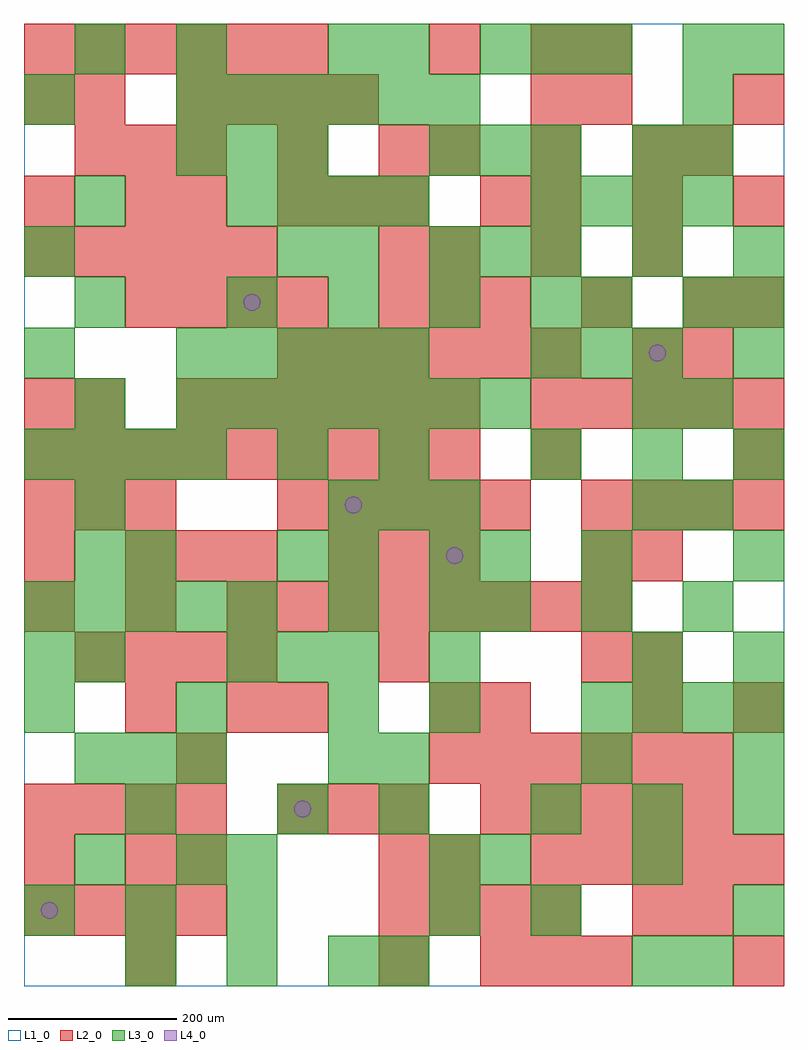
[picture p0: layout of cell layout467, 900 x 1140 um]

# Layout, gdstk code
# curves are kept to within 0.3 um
import gdstk
lib = gdstk.Library(unit=1e-6, precision=1e-09)
def R(c, l, rs):  # rectangles x0, y0, x1, y1
    for r in rs: c.add(gdstk.rectangle(r[:2], r[2:], *l))
def A(c, l, x, y, w, h, nx, ny, dx, dy):  # array of equal rectangles
    R(c, l, [(x+i*dx, y+j*dy, x+i*dx+w, y+j*dy+h) for i in range(nx) for j in range(ny)])
def P(c, l, *ps):  # polygons
    for p in ps: c.add(gdstk.Polygon(p, *l))
L1_0 = (1, 0)
L2_0 = (2, 0)
L3_0 = (3, 0)
L4_0 = (4, 0)

layout467 = lib.new_cell('layout467')
R(layout467, L1_0, [(0,0,900,1140)])
A(layout467, L2_0, 540, 0, 60, 60, 3, 1, 60, 0)
A(layout467, L2_0, 840, 0, 60, 60, 1, 3, 0, 300)
A(layout467, L2_0, 0, 60, 60, 60, 4, 2, 60, 120)
A(layout467, L2_0, 420, 60, 60, 60, 4, 1, 60, 0)
A(layout467, L2_0, 600, 120, 60, 60, 5, 2, 60, 540)
A(layout467, L2_0, 300, 180, 60, 60, 3, 2, 60, 720)
A(layout467, L2_0, 540, 180, 60, 60, 5, 1, 60, 0)
A(layout467, L2_0, 480, 240, 60, 60, 6, 1, 60, 0)
A(layout467, L2_0, 60, 360, 60, 60, 4, 1, 60, 0)
A(layout467, L2_0, 0, 420, 60, 60, 3, 1, 120, 0)
A(layout467, L2_0, 300, 420, 60, 60, 7, 1, 60, 0)
A(layout467, L2_0, 120, 480, 60, 60, 3, 1, 60, 0)
A(layout467, L2_0, 360, 480, 60, 60, 3, 1, 60, 0)
A(layout467, L2_0, 0, 540, 60, 60, 3, 1, 60, 0)
A(layout467, L2_0, 300, 540, 60, 60, 5, 1, 60, 0)
A(layout467, L2_0, 660, 540, 60, 60, 4, 1, 60, 0)
A(layout467, L2_0, 0, 600, 60, 60, 9, 1, 60, 0)
A(layout467, L2_0, 180, 660, 60, 60, 6, 1, 60, 0)
A(layout467, L2_0, 300, 720, 60, 60, 6, 1, 60, 0)
A(layout467, L2_0, 120, 780, 60, 60, 4, 1, 60, 0)
A(layout467, L2_0, 420, 780, 60, 60, 3, 1, 60, 0)
A(layout467, L2_0, 0, 840, 60, 60, 5, 1, 60, 0)
A(layout467, L2_0, 480, 840, 60, 60, 3, 2, 120, 120)
A(layout467, L2_0, 600, 900, 60, 60, 3, 1, 120, 0)
A(layout467, L2_0, 60, 960, 60, 60, 3, 1, 60, 0)
A(layout467, L2_0, 180, 1020, 60, 60, 4, 1, 60, 0)
A(layout467, L2_0, 0, 1080, 60, 60, 6, 1, 60, 0)
R(layout467, L2_0, [(120,0,180,60), (420,0,480,60), (720,60,780,120), (780,60,840,120), (0,120,60,180), (120,120,180,180), (180,120,240,180), (420,120,480,180), (480,120,540,180), (180,240,240,300), (120,300,180,360), (240,300,300,360), (300,300,360,360), (480,300,540,360), (540,300,600,360), (720,300,780,360), (420,360,480,420), (660,360,720,420), (720,360,780,420), (0,480,60,540), (660,480,720,540), (720,480,780,540), (600,600,660,660), (0,660,60,720), (60,660,120,720), (720,720,780,780), (780,720,840,780), (660,780,720,840), (780,780,840,840), (840,780,900,840), (420,840,480,900), (0,900,60,960), (120,900,180,960), (180,900,240,960), (540,900,600,960), (300,960,360,1020), (420,960,480,1020), (780,960,840,1020), (0,1020,60,1080), (60,1020,120,1080), (600,1020,660,1080), (660,1020,720,1080), (840,1020,900,1080), (480,1080,540,1140), (600,1080,660,1140), (660,1080,720,1140)])
A(layout467, L3_0, 120, 0, 60, 60, 3, 1, 120, 0)
A(layout467, L3_0, 0, 60, 60, 60, 3, 1, 120, 0)
A(layout467, L3_0, 600, 180, 60, 60, 3, 2, 120, 420)
A(layout467, L3_0, 60, 240, 60, 60, 3, 1, 60, 0)
A(layout467, L3_0, 840, 240, 60, 60, 1, 3, 0, 120)
A(layout467, L3_0, 0, 300, 60, 60, 3, 1, 180, 0)
A(layout467, L3_0, 480, 300, 60, 60, 1, 4, 0, 60)
A(layout467, L3_0, 660, 300, 60, 60, 4, 1, 60, 0)
A(layout467, L3_0, 240, 360, 60, 60, 3, 1, 60, 0)
A(layout467, L3_0, 0, 420, 60, 60, 5, 1, 60, 0)
A(layout467, L3_0, 540, 420, 60, 60, 3, 1, 120, 0)
A(layout467, L3_0, 60, 540, 60, 60, 1, 4, 0, 120)
A(layout467, L3_0, 360, 540, 60, 60, 3, 1, 60, 0)
A(layout467, L3_0, 780, 540, 60, 60, 1, 3, 0, 120)
A(layout467, L3_0, 0, 600, 60, 60, 4, 1, 60, 0)
A(layout467, L3_0, 180, 660, 60, 60, 7, 1, 60, 0)
A(layout467, L3_0, 180, 720, 60, 60, 5, 1, 60, 0)
A(layout467, L3_0, 600, 720, 60, 60, 3, 1, 60, 0)
A(layout467, L3_0, 840, 720, 60, 60, 1, 3, 0, 60)
A(layout467, L3_0, 240, 780, 60, 60, 4, 1, 120, 0)
A(layout467, L3_0, 480, 840, 60, 60, 3, 2, 60, 120)
A(layout467, L3_0, 240, 900, 60, 60, 4, 1, 60, 0)
A(layout467, L3_0, 600, 900, 60, 60, 4, 1, 60, 0)
A(layout467, L3_0, 180, 960, 60, 60, 3, 1, 60, 0)
A(layout467, L3_0, 780, 960, 60, 60, 1, 3, 0, 60)
A(layout467, L3_0, 180, 1020, 60, 60, 6, 1, 60, 0)
A(layout467, L3_0, 540, 1080, 60, 60, 3, 1, 60, 0)
R(layout467, L3_0, [(420,0,480,60), (720,0,780,60), (780,0,840,60), (480,60,540,120), (600,60,660,120), (840,60,900,120), (60,120,120,180), (180,120,240,180), (240,120,300,180), (480,120,540,180), (540,120,600,180), (720,120,780,180), (120,180,180,240), (300,180,360,240), (420,180,480,240), (360,240,420,300), (420,240,480,300), (660,240,720,300), (0,360,60,420), (60,360,120,420), (720,360,780,420), (360,420,420,480), (60,480,120,540), (120,480,180,540), (300,480,360,540), (360,480,420,540), (540,480,600,540), (660,480,720,540), (720,540,780,600), (300,600,360,660), (420,600,480,660), (720,660,780,720), (0,720,60,780), (660,780,720,840), (0,840,60,900), (300,840,360,900), (360,840,420,900), (720,840,780,900), (720,960,780,1020), (0,1020,60,1080), (60,1080,120,1140), (180,1080,240,1140), (360,1080,420,1140), (420,1080,480,1140), (840,1080,900,1140)])
P(layout467, L4_0, [(40,90),(39.239,93.827),(37.071,97.071),(33.827,99.239),(30,100),(26.173,99.239),(22.929,97.071),(20.761,93.827),(20,90),(20.761,86.173),(22.929,82.929),(26.173,80.761),(30,80),(33.827,80.761),(37.071,82.929),(39.239,86.173)],
  [(280,810),(279.239,813.827),(277.071,817.071),(273.827,819.239),(270,820),(266.173,819.239),(262.929,817.071),(260.761,813.827),(260,810),(260.761,806.173),(262.929,802.929),(266.173,800.761),(270,800),(273.827,800.761),(277.071,802.929),(279.239,806.173)],
  [(340,210),(339.239,213.827),(337.071,217.071),(333.827,219.239),(330,220),(326.173,219.239),(322.929,217.071),(320.761,213.827),(320,210),(320.761,206.173),(322.929,202.929),(326.173,200.761),(330,200),(333.827,200.761),(337.071,202.929),(339.239,206.173)],
  [(400,570),(399.239,573.827),(397.071,577.071),(393.827,579.239),(390,580),(386.173,579.239),(382.929,577.071),(380.761,573.827),(380,570),(380.761,566.173),(382.929,562.929),(386.173,560.761),(390,560),(393.827,560.761),(397.071,562.929),(399.239,566.173)],
  [(520,510),(519.239,513.827),(517.071,517.071),(513.827,519.239),(510,520),(506.173,519.239),(502.929,517.071),(500.761,513.827),(500,510),(500.761,506.173),(502.929,502.929),(506.173,500.761),(510,500),(513.827,500.761),(517.071,502.929),(519.239,506.173)],
  [(760,750),(759.239,753.827),(757.071,757.071),(753.827,759.239),(750,760),(746.173,759.239),(742.929,757.071),(740.761,753.827),(740,750),(740.761,746.173),(742.929,742.929),(746.173,740.761),(750,740),(753.827,740.761),(757.071,742.929),(759.239,746.173)])

lib.write_gds('layout467.gds')
